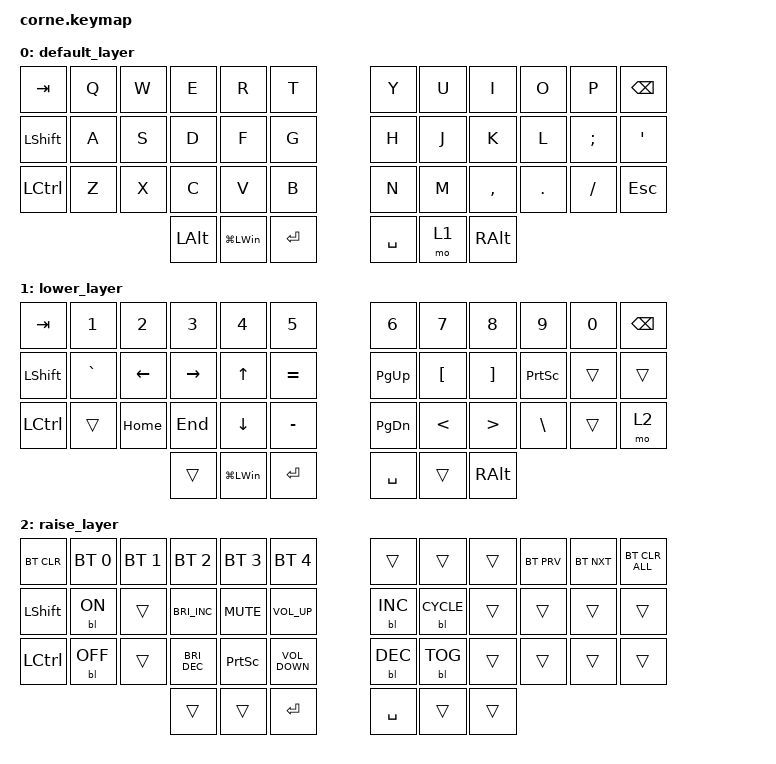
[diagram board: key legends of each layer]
/*
 * Copyright (c) 2020 The ZMK Contributors
 *
 * SPDX-License-Identifier: MIT
 */

#include <behaviors.dtsi>
#include <dt-bindings/zmk/backlight.h>
#include <dt-bindings/zmk/bt.h>
#include <dt-bindings/zmk/keys.h>

/ {
    combos {
        compatible = "zmk,combos";

        secondlayer {
            bindings = <&tog 2>;
            key-positions = <36 27>;
            timeout-ms = <0>;
            layers = <1>;
        };

        firstlayer {
            bindings = <&tog 2>;
            key-positions = <36 26>;
            layers = <2>;
        };
    };

    keymap {
        compatible = "zmk,keymap";

        default_layer {
            // -----------------------------------------------------------------------------------------
            // |  TAB |  Q  |  W  |  E  |  R  |  T  |   |  Y  |  U   |  I  |  O  |  P  | BKSP |
            // | CTRL |  A  |  S  |  D  |  F  |  G  |   |  H  |  J   |  K  |  L  |  ;  |  '   |
            // | SHFT |  Z  |  X  |  C  |  V  |  B  |   |  N  |  M   |  ,  |  .  |  /  | ESC  |
            //                    | GUI | LWR | SPC |   | ENT | RSE  | ALT |

            bindings = <
&kp TAB           &kp Q  &kp W  &kp E         &kp R             &kp T        &kp Y      &kp U  &kp I          &kp O    &kp P     &kp BACKSPACE
&kp LEFT_SHIFT    &kp A  &kp S  &kp D         &kp F             &kp G        &kp H      &kp J  &kp K          &kp L    &kp SEMI  &kp SQT
&kp LEFT_CONTROL  &kp Z  &kp X  &kp C         &kp V             &kp B        &kp N      &kp M  &kp COMMA      &kp DOT  &kp FSLH  &kp ESC
                                &kp LEFT_ALT  &kp LG(LEFT_WIN)  &kp ENTER    &kp SPACE  &mo 1  &kp RIGHT_ALT
            >;
        };

        lower_layer {
            // -----------------------------------------------------------------------------------------
            // |  TAB |  1  |  2  |  3  |  4  |  5  |   |  6  |  7  |  8  |  9  |  0  | BKSP |
            // | BTCLR| BT1 | BT2 | BT3 | BT4 | BT5 |   | LFT | DWN |  UP | RGT |     |      |
            // | SHFT |     |     |     |     |     |   |     |     |     |     |     |      |
            //                    | GUI |     | SPC |   | ENT |     | ALT |

            bindings = <
&kp TAB           &kp N1     &kp N2          &kp N3           &kp N4            &kp N5       &kp N6         &kp N7            &kp N8             &kp N9           &kp N0  &kp BACKSPACE
&kp LEFT_SHIFT    &kp GRAVE  &kp LEFT_ARROW  &kp RIGHT_ARROW  &kp UP_ARROW      &kp EQUAL    &kp PAGE_UP    &kp LEFT_BRACKET  &kp RIGHT_BRACKET  &kp PRINTSCREEN  &trans  &trans
&kp LEFT_CONTROL  &trans     &kp HOME        &kp END          &kp DOWN_ARROW    &kp MINUS    &kp PAGE_DOWN  &kp LESS_THAN     &kp GREATER_THAN   &kp BACKSLASH    &trans  &mo 2
                                             &trans           &kp LG(LEFT_WIN)  &kp ENTER    &kp SPACE      &trans            &kp RIGHT_ALT
            >;
        };

        raise_layer {
            // -----------------------------------------------------------------------------------------
            // |  TAB |  !  |  @  |  #  |  $  |  %  |   |  ^  |  &  |  *  |  (  |  )  | BKSP |
            // | CTRL |     |     |     |     |     |   |  -  |  =  |  [  |  ]  |  \  |  `   |
            // | SHFT |     |     |     |     |     |   |  _  |  +  |  {  |  }  | "|" |  ~   |
            //                    | GUI |     | SPC |   | ENT |     | ALT |

            bindings = <
&bt BT_CLR        &bt BT_SEL 0  &bt BT_SEL 1  &bt BT_SEL 2          &bt BT_SEL 3     &bt BT_SEL 4         &trans      &trans        &trans  &bt BT_PRV  &bt BT_NXT  &bt BT_CLR_ALL
&kp LEFT_SHIFT    &bl BL_ON     &trans        &kp C_BRIGHTNESS_INC  &kp K_MUTE       &kp C_VOLUME_UP      &bl BL_INC  &bl BL_CYCLE  &trans  &trans      &trans      &trans
&kp LEFT_CONTROL  &bl BL_OFF    &trans        &kp C_BRIGHTNESS_DEC  &kp PRINTSCREEN  &kp C_VOLUME_DOWN    &bl BL_DEC  &bl BL_TOG    &trans  &trans      &trans      &trans
                                              &trans                &trans           &kp ENTER            &kp SPACE   &trans        &trans
            >;
        };
    };
};
